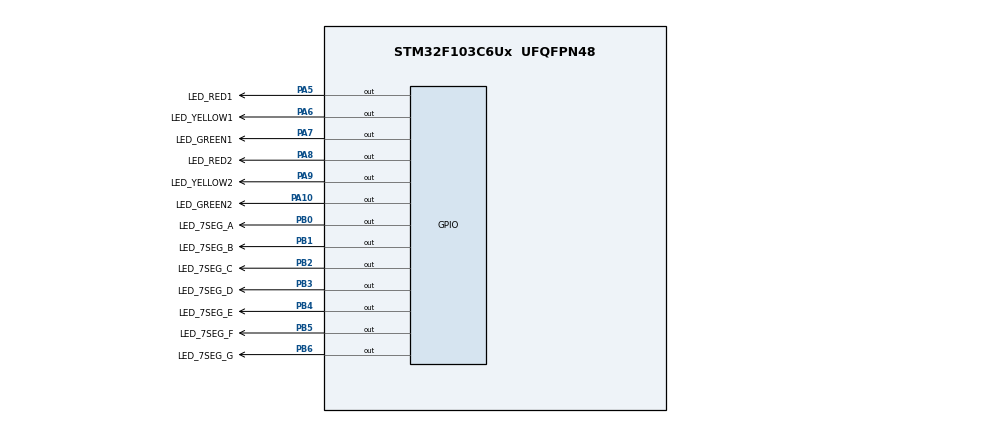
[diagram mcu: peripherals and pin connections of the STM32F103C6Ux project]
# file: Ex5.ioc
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Mcu.Family=STM32F1
Mcu.Name=STM32F103C6Ux
Mcu.Package=UFQFPN48
NVIC.PriorityGroup=NVIC_PRIORITYGROUP_4
PA10.GPIO_Label=LED_GREEN2
PA10.Signal=GPIO_Output
PA5.GPIO_Label=LED_RED1
PA5.Signal=GPIO_Output
PA6.GPIO_Label=LED_YELLOW1
PA6.Signal=GPIO_Output
PA7.GPIO_Label=LED_GREEN1
PA7.Signal=GPIO_Output
PA8.GPIO_Label=LED_RED2
PA8.Signal=GPIO_Output
PA9.GPIO_Label=LED_YELLOW2
PA9.Signal=GPIO_Output
PB0.GPIO_Label=LED_7SEG_A
PB0.Signal=GPIO_Output
PB1.GPIO_Label=LED_7SEG_B
PB1.Signal=GPIO_Output
PB2.GPIO_Label=LED_7SEG_C
PB2.Signal=GPIO_Output
PB3.GPIO_Label=LED_7SEG_D
PB3.Signal=GPIO_Output
PB4.GPIO_Label=LED_7SEG_E
PB4.Signal=GPIO_Output
PB5.GPIO_Label=LED_7SEG_F
PB5.Signal=GPIO_Output
PB6.GPIO_Label=LED_7SEG_G
PB6.Signal=GPIO_Output
ProjectManager.HeapSize=0x200
ProjectManager.StackSize=0x400
ProjectManager.TargetToolchain=STM32CubeIDE
RCC.APB1Freq_Value=8000000
RCC.APB2Freq_Value=8000000
VP_SYS_VS_ND.Mode=No_Debug
board=custom

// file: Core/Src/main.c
/* USER CODE BEGIN Header */
/**
  ******************************************************************************
  * @file           : main.c
  * @brief          : Main program body
  ******************************************************************************
  * @attention
  *
  * <h2><center>&copy; Copyright (c) 2022 STMicroelectronics.
  * All rights reserved.</center></h2>
  *
  * This software component is licensed by ST under BSD 3-Clause license,
  * the "License"; You may not use this file except in compliance with the
  * License. You may obtain a copy of the License at:
  *                        opensource.org/licenses/BSD-3-Clause
  *
  ******************************************************************************
  */
/* USER CODE END Header */
#include "main.h"

void SystemClock_Config(void);
static void MX_GPIO_Init(void);
/* USER CODE BEGIN PFP */
void display7SEG(int value);
/* USER CODE END PFP */

int main(void)
{

  /* MCU Configuration--------------------------------------------------------*/

  /* Reset of all peripherals, Initializes the Flash interface and the Systick. */
  HAL_Init();

  /* Configure the system clock */
  SystemClock_Config();

  /* Initialize all configured peripherals */
  MX_GPIO_Init();

  /* Infinite loop */
  /* USER CODE BEGIN WHILE */
  int counter = 0;
  while (1)
  {
	  if (counter < 5) {
		  HAL_GPIO_WritePin(LED_RED1_GPIO_Port, LED_RED1_Pin, GPIO_PIN_RESET);
		  HAL_GPIO_WritePin(LED_YELLOW1_GPIO_Port, LED_YELLOW1_Pin, GPIO_PIN_SET);
		  HAL_GPIO_WritePin(LED_GREEN1_GPIO_Port, LED_GREEN1_Pin, GPIO_PIN_SET);
		  if (counter < 3) {
			  HAL_GPIO_WritePin(LED_RED2_GPIO_Port, LED_RED2_Pin, GPIO_PIN_SET);
			  HAL_GPIO_WritePin(LED_YELLOW2_GPIO_Port, LED_YELLOW2_Pin, GPIO_PIN_SET);
			  HAL_GPIO_WritePin(LED_GREEN2_GPIO_Port, LED_GREEN2_Pin, GPIO_PIN_RESET);
		  } else {
			  HAL_GPIO_WritePin(LED_RED2_GPIO_Port, LED_RED2_Pin, GPIO_PIN_SET);
			  HAL_GPIO_WritePin(LED_YELLOW2_GPIO_Port, LED_YELLOW2_Pin, GPIO_PIN_RESET);
			  HAL_GPIO_WritePin(LED_GREEN2_GPIO_Port, LED_GREEN2_Pin, GPIO_PIN_SET);
		  }
	  } else {
		  if (counter < 8) {
			  HAL_GPIO_WritePin(LED_RED1_GPIO_Port, LED_RED1_Pin, GPIO_PIN_SET);
			  HAL_GPIO_WritePin(LED_YELLOW1_GPIO_Port, LED_YELLOW1_Pin, GPIO_PIN_SET);
			  HAL_GPIO_WritePin(LED_GREEN1_GPIO_Port, LED_GREEN1_Pin, GPIO_PIN_RESET);
		  } else {
			  HAL_GPIO_WritePin(LED_RED1_GPIO_Port, LED_RED1_Pin, GPIO_PIN_SET);
			  HAL_GPIO_WritePin(LED_YELLOW1_GPIO_Port, LED_YELLOW1_Pin, GPIO_PIN_RESET);
			  HAL_GPIO_WritePin(LED_GREEN1_GPIO_Port, LED_GREEN1_Pin, GPIO_PIN_SET);
		  }
		  HAL_GPIO_WritePin(LED_RED2_GPIO_Port, LED_RED2_Pin, GPIO_PIN_RESET);
		  HAL_GPIO_WritePin(LED_YELLOW2_GPIO_Port, LED_YELLOW2_Pin, GPIO_PIN_SET);
		  HAL_GPIO_WritePin(LED_GREEN2_GPIO_Port, LED_GREEN2_Pin, GPIO_PIN_SET);
	  }
	  display7SEG(10-counter++);
	  if (counter >= 10) counter = 0;
	  HAL_Delay(1000);
    /* USER CODE END WHILE */

  }
}

void SystemClock_Config(void)
{
  RCC_OscInitTypeDef RCC_OscInitStruct = {0};
  RCC_ClkInitTypeDef RCC_ClkInitStruct = {0};

  /** Initializes the RCC Oscillators according to the specified parameters
  * in the RCC_OscInitTypeDef structure.
  */
  RCC_OscInitStruct.OscillatorType = RCC_OSCILLATORTYPE_HSI;
  RCC_OscInitStruct.HSIState = RCC_HSI_ON;
  RCC_OscInitStruct.HSICalibrationValue = RCC_HSICALIBRATION_DEFAULT;
  RCC_OscInitStruct.PLL.PLLState = RCC_PLL_NONE;
  if (HAL_RCC_OscConfig(&RCC_OscInitStruct) != HAL_OK)
  {
    Error_Handler();
  }
  /** Initializes the CPU, AHB and APB buses clocks
  */
  RCC_ClkInitStruct.ClockType = RCC_CLOCKTYPE_HCLK|RCC_CLOCKTYPE_SYSCLK
                              |RCC_CLOCKTYPE_PCLK1|RCC_CLOCKTYPE_PCLK2;
  RCC_ClkInitStruct.SYSCLKSource = RCC_SYSCLKSOURCE_HSI;
  RCC_ClkInitStruct.AHBCLKDivider = RCC_SYSCLK_DIV1;
  RCC_ClkInitStruct.APB1CLKDivider = RCC_HCLK_DIV1;
  RCC_ClkInitStruct.APB2CLKDivider = RCC_HCLK_DIV1;

  if (HAL_RCC_ClockConfig(&RCC_ClkInitStruct, FLASH_LATENCY_0) != HAL_OK)
  {
    Error_Handler();
  }
}

static void MX_GPIO_Init(void)
{
  GPIO_InitTypeDef GPIO_InitStruct = {0};

  /* GPIO Ports Clock Enable */
  __HAL_RCC_GPIOA_CLK_ENABLE();
  __HAL_RCC_GPIOB_CLK_ENABLE();

  /*Configure GPIO pin Output Level */
  HAL_GPIO_WritePin(GPIOA, LED_RED1_Pin|LED_YELLOW1_Pin|LED_GREEN1_Pin|LED_RED2_Pin
                          |LED_YELLOW2_Pin|LED_GREEN2_Pin, GPIO_PIN_RESET);

  /*Configure GPIO pin Output Level */
  HAL_GPIO_WritePin(GPIOB, LED_7SEG_A_Pin|LED_7SEG_B_Pin|LED_7SEG_C_Pin|LED_7SEG_D_Pin
                          |LED_7SEG_E_Pin|LED_7SEG_F_Pin|LED_7SEG_G_Pin, GPIO_PIN_RESET);

  /*Configure GPIO pins : LED_RED1_Pin LED_YELLOW1_Pin LED_GREEN1_Pin LED_RED2_Pin
                           LED_YELLOW2_Pin LED_GREEN2_Pin */
  GPIO_InitStruct.Pin = LED_RED1_Pin|LED_YELLOW1_Pin|LED_GREEN1_Pin|LED_RED2_Pin
                          |LED_YELLOW2_Pin|LED_GREEN2_Pin;
  GPIO_InitStruct.Mode = GPIO_MODE_OUTPUT_PP;
  GPIO_InitStruct.Pull = GPIO_NOPULL;
  GPIO_InitStruct.Speed = GPIO_SPEED_FREQ_LOW;
  HAL_GPIO_Init(GPIOA, &GPIO_InitStruct);

  /*Configure GPIO pins : LED_7SEG_A_Pin LED_7SEG_B_Pin LED_7SEG_C_Pin LED_7SEG_D_Pin
                           LED_7SEG_E_Pin LED_7SEG_F_Pin LED_7SEG_G_Pin */
  GPIO_InitStruct.Pin = LED_7SEG_A_Pin|LED_7SEG_B_Pin|LED_7SEG_C_Pin|LED_7SEG_D_Pin
                          |LED_7SEG_E_Pin|LED_7SEG_F_Pin|LED_7SEG_G_Pin;
  GPIO_InitStruct.Mode = GPIO_MODE_OUTPUT_PP;
  GPIO_InitStruct.Pull = GPIO_NOPULL;
  GPIO_InitStruct.Speed = GPIO_SPEED_FREQ_LOW;
  HAL_GPIO_Init(GPIOB, &GPIO_InitStruct);

}

/* USER CODE BEGIN 4 */
void display7SEG(int value) {
	HAL_GPIO_WritePin(LED_7SEG_A_GPIO_Port, LED_7SEG_A_Pin, GPIO_PIN_SET);
	HAL_GPIO_WritePin(LED_7SEG_B_GPIO_Port, LED_7SEG_B_Pin, GPIO_PIN_SET);
	HAL_GPIO_WritePin(LED_7SEG_C_GPIO_Port, LED_7SEG_C_Pin, GPIO_PIN_SET);
	HAL_GPIO_WritePin(LED_7SEG_D_GPIO_Port, LED_7SEG_D_Pin, GPIO_PIN_SET);
	HAL_GPIO_WritePin(LED_7SEG_E_GPIO_Port, LED_7SEG_E_Pin, GPIO_PIN_SET);
	HAL_GPIO_WritePin(LED_7SEG_F_GPIO_Port, LED_7SEG_F_Pin, GPIO_PIN_SET);
	HAL_GPIO_WritePin(LED_7SEG_G_GPIO_Port, LED_7SEG_G_Pin, GPIO_PIN_SET);
	switch (value) {
	case 1 :
		HAL_GPIO_WritePin(LED_7SEG_B_GPIO_Port, LED_7SEG_B_Pin, GPIO_PIN_RESET);
		HAL_GPIO_WritePin(LED_7SEG_C_GPIO_Port, LED_7SEG_C_Pin, GPIO_PIN_RESET);
		break;
	case 2 :
		HAL_GPIO_WritePin(LED_7SEG_A_GPIO_Port, LED_7SEG_A_Pin, GPIO_PIN_RESET);
		HAL_GPIO_WritePin(LED_7SEG_B_GPIO_Port, LED_7SEG_B_Pin, GPIO_PIN_RESET);
		HAL_GPIO_WritePin(LED_7SEG_D_GPIO_Port, LED_7SEG_D_Pin, GPIO_PIN_RESET);
		HAL_GPIO_WritePin(LED_7SEG_E_GPIO_Port, LED_7SEG_E_Pin, GPIO_PIN_RESET);
		HAL_GPIO_WritePin(LED_7SEG_G_GPIO_Port, LED_7SEG_G_Pin, GPIO_PIN_RESET);
		break;
	case 3 :
		HAL_GPIO_WritePin(LED_7SEG_A_GPIO_Port, LED_7SEG_A_Pin, GPIO_PIN_RESET);
		HAL_GPIO_WritePin(LED_7SEG_B_GPIO_Port, LED_7SEG_B_Pin, GPIO_PIN_RESET);
		HAL_GPIO_WritePin(LED_7SEG_C_GPIO_Port, LED_7SEG_C_Pin, GPIO_PIN_RESET);
		HAL_GPIO_WritePin(LED_7SEG_D_GPIO_Port, LED_7SEG_D_Pin, GPIO_PIN_RESET);
		HAL_GPIO_WritePin(LED_7SEG_G_GPIO_Port, LED_7SEG_G_Pin, GPIO_PIN_RESET);
		break;
	case 4 :
		HAL_GPIO_WritePin(LED_7SEG_B_GPIO_Port, LED_7SEG_B_Pin, GPIO_PIN_RESET);
		HAL_GPIO_WritePin(LED_7SEG_C_GPIO_Port, LED_7SEG_C_Pin, GPIO_PIN_RESET);
		HAL_GPIO_WritePin(LED_7SEG_F_GPIO_Port, LED_7SEG_F_Pin, GPIO_PIN_RESET);
		HAL_GPIO_WritePin(LED_7SEG_G_GPIO_Port, LED_7SEG_G_Pin, GPIO_PIN_RESET);
		break;
	case 5 :
		HAL_GPIO_WritePin(LED_7SEG_A_GPIO_Port, LED_7SEG_A_Pin, GPIO_PIN_RESET);
		HAL_GPIO_WritePin(LED_7SEG_C_GPIO_Port, LED_7SEG_C_Pin, GPIO_PIN_RESET);
		HAL_GPIO_WritePin(LED_7SEG_D_GPIO_Port, LED_7SEG_D_Pin, GPIO_PIN_RESET);
		HAL_GPIO_WritePin(LED_7SEG_F_GPIO_Port, LED_7SEG_F_Pin, GPIO_PIN_RESET);
		HAL_GPIO_WritePin(LED_7SEG_G_GPIO_Port, LED_7SEG_G_Pin, GPIO_PIN_RESET);
		break;
	case 6:
		HAL_GPIO_WritePin(LED_7SEG_A_GPIO_Port, LED_7SEG_A_Pin, GPIO_PIN_RESET);
		HAL_GPIO_WritePin(LED_7SEG_C_GPIO_Port, LED_7SEG_C_Pin, GPIO_PIN_RESET);
		HAL_GPIO_WritePin(LED_7SEG_D_GPIO_Port, LED_7SEG_D_Pin, GPIO_PIN_RESET);
		HAL_GPIO_WritePin(LED_7SEG_E_GPIO_Port, LED_7SEG_E_Pin, GPIO_PIN_RESET);
		HAL_GPIO_WritePin(LED_7SEG_F_GPIO_Port, LED_7SEG_F_Pin, GPIO_PIN_RESET);
		HAL_GPIO_WritePin(LED_7SEG_G_GPIO_Port, LED_7SEG_G_Pin, GPIO_PIN_RESET);
		break;
	case 7 :
		HAL_GPIO_WritePin(LED_7SEG_A_GPIO_Port, LED_7SEG_A_Pin, GPIO_PIN_RESET);
		HAL_GPIO_WritePin(LED_7SEG_B_GPIO_Port, LED_7SEG_B_Pin, GPIO_PIN_RESET);
		HAL_GPIO_WritePin(LED_7SEG_C_GPIO_Port, LED_7SEG_C_Pin, GPIO_PIN_RESET);
		break;
	case 8 :
		HAL_GPIO_WritePin(LED_7SEG_A_GPIO_Port, LED_7SEG_A_Pin, GPIO_PIN_RESET);
		HAL_GPIO_WritePin(LED_7SEG_B_GPIO_Port, LED_7SEG_B_Pin, GPIO_PIN_RESET);
		HAL_GPIO_WritePin(LED_7SEG_C_GPIO_Port, LED_7SEG_C_Pin, GPIO_PIN_RESET);
		HAL_GPIO_WritePin(LED_7SEG_D_GPIO_Port, LED_7SEG_D_Pin, GPIO_PIN_RESET);
		HAL_GPIO_WritePin(LED_7SEG_E_GPIO_Port, LED_7SEG_E_Pin, GPIO_PIN_RESET);
		HAL_GPIO_WritePin(LED_7SEG_F_GPIO_Port, LED_7SEG_F_Pin, GPIO_PIN_RESET);
		HAL_GPIO_WritePin(LED_7SEG_G_GPIO_Port, LED_7SEG_G_Pin, GPIO_PIN_RESET);
		break;
	case 9:
		HAL_GPIO_WritePin(LED_7SEG_A_GPIO_Port, LED_7SEG_A_Pin, GPIO_PIN_RESET);
		HAL_GPIO_WritePin(LED_7SEG_B_GPIO_Port, LED_7SEG_B_Pin, GPIO_PIN_RESET);
		HAL_GPIO_WritePin(LED_7SEG_C_GPIO_Port, LED_7SEG_C_Pin, GPIO_PIN_RESET);
		HAL_GPIO_WritePin(LED_7SEG_D_GPIO_Port, LED_7SEG_D_Pin, GPIO_PIN_RESET);
		HAL_GPIO_WritePin(LED_7SEG_F_GPIO_Port, LED_7SEG_F_Pin, GPIO_PIN_RESET);
		HAL_GPIO_WritePin(LED_7SEG_G_GPIO_Port, LED_7SEG_G_Pin, GPIO_PIN_RESET);
		break;
	default:
		HAL_GPIO_WritePin(LED_7SEG_A_GPIO_Port, LED_7SEG_A_Pin, GPIO_PIN_RESET);
		HAL_GPIO_WritePin(LED_7SEG_B_GPIO_Port, LED_7SEG_B_Pin, GPIO_PIN_RESET);
		HAL_GPIO_WritePin(LED_7SEG_C_GPIO_Port, LED_7SEG_C_Pin, GPIO_PIN_RESET);
		HAL_GPIO_WritePin(LED_7SEG_D_GPIO_Port, LED_7SEG_D_Pin, GPIO_PIN_RESET);
		HAL_GPIO_WritePin(LED_7SEG_E_GPIO_Port, LED_7SEG_E_Pin, GPIO_PIN_RESET);
		HAL_GPIO_WritePin(LED_7SEG_F_GPIO_Port, LED_7SEG_F_Pin, GPIO_PIN_RESET);
		break;
	}
}
/* USER CODE END 4 */

void Error_Handler(void)
{
  __disable_irq();
  while (1)
  {
  }
}

/************************ (C) COPYRIGHT STMicroelectronics *****END OF FILE****/
